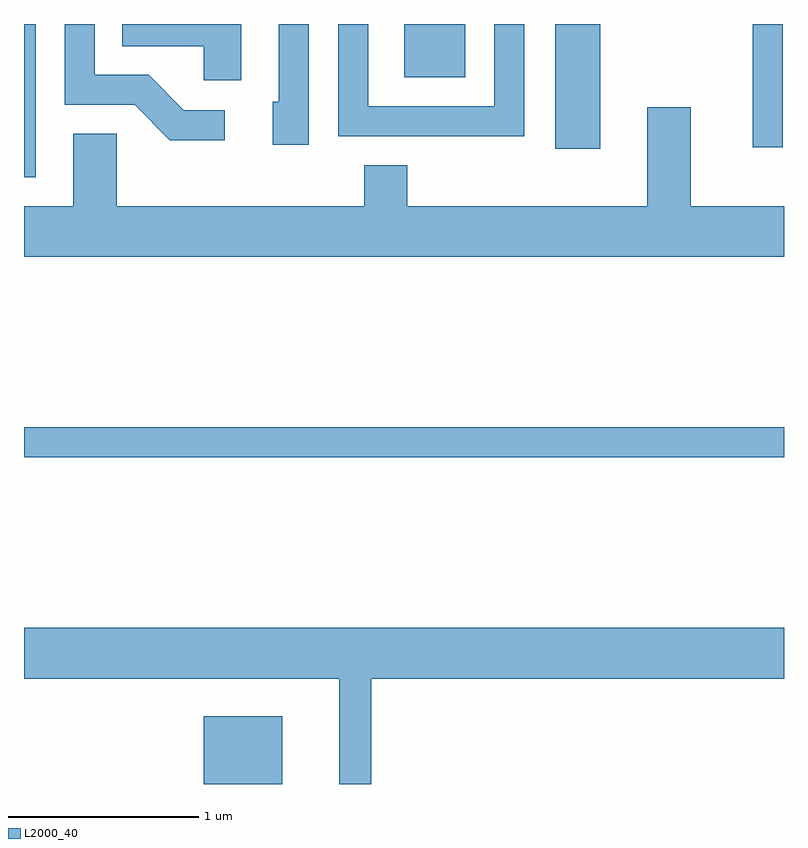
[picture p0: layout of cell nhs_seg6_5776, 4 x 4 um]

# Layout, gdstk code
import gdstk
lib = gdstk.Library(unit=1e-6, precision=1e-09)
def R(c, l, rs):  # rectangles x0, y0, x1, y1
    for r in rs: c.add(gdstk.rectangle(r[:2], r[2:], *l))
def P(c, l, *ps):  # polygons
    for p in ps: c.add(gdstk.Polygon(p, *l))
L2000_40 = (2000, 40)

nhs_seg6_5776 = lib.new_cell('nhs_seg6_5776')
R(nhs_seg6_5776, L2000_40, [(362.556,1536.162,362.969,1536.519), (361.611,1537.881,365.611,1538.039), (361.611,1539.356,361.674,1540.162), (364.406,1539.506,364.644,1540.162), (365.446,1539.513,365.604,1540.162), (363.611,1539.881,363.934,1540.162)])
P(nhs_seg6_5776, L2000_40, [(362.754,1540.162),(362.128,1540.162),(362.128,1540.046),(362.556,1540.046),(362.556,1539.866),(362.754,1539.866)],
  [(362.668,1539.709),(362.452,1539.709),(362.267,1539.894),(361.984,1539.894),(361.984,1540.162),(361.826,1540.162),(361.826,1539.736),(362.194,1539.736),(362.379,1539.551),(362.668,1539.551)],
  [(363.109,1540.162),(362.951,1540.162),(362.951,1539.754),(362.921,1539.754),(362.921,1539.526),(363.109,1539.526)],
  [(364.244,1540.162),(364.086,1540.162),(364.086,1539.729),(363.424,1539.729),(363.424,1540.162),(363.266,1540.162),(363.266,1539.571),(364.244,1539.571)],
  [(365.611,1539.204),(365.119,1539.204),(365.119,1539.724),(364.891,1539.724),(364.891,1539.204),(363.629,1539.204),(363.629,1539.419),(363.401,1539.419),(363.401,1539.204),(362.099,1539.204),(362.099,1539.584),(361.871,1539.584),(361.871,1539.204),(361.611,1539.204),(361.611,1538.936),(365.611,1538.936)],
  [(363.439,1536.716),(365.611,1536.716),(365.611,1536.984),(361.611,1536.984),(361.611,1536.716),(363.271,1536.716),(363.271,1536.162),(363.439,1536.162)])

lib.write_gds('nhs_seg6_5776.gds')
